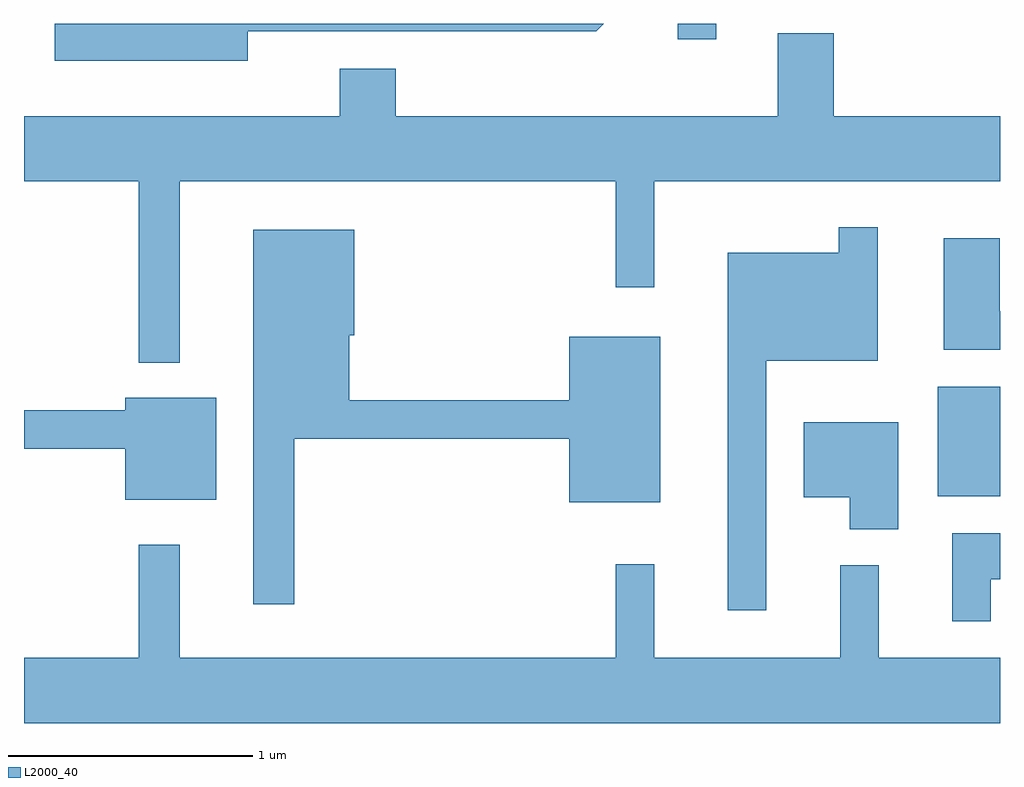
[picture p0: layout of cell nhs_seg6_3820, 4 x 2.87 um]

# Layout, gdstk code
import gdstk
lib = gdstk.Library(unit=1e-6, precision=1e-09)
def R(c, l, rs):  # rectangles x0, y0, x1, y1
    for r in rs: c.add(gdstk.rectangle(r[:2], r[2:], *l))
def P(c, l, *ps):  # polygons
    for p in ps: c.add(gdstk.Polygon(p, *l))
L2000_40 = (2000, 40)

nhs_seg6_3820 = lib.new_cell('nhs_seg6_3820')
R(nhs_seg6_3820, L2000_40, [(303.356,1624.226,303.611,1624.674), (302.291,1626.098,302.449,1626.162)])
P(nhs_seg6_3820, L2000_40, [(300.529,1626.131),(301.957,1626.131),(301.988,1626.162),(299.738,1626.162),(299.738,1626.011),(300.529,1626.011)],
  [(300.249,1625.516),(302.036,1625.516),(302.036,1625.083),(302.194,1625.083),(302.194,1625.516),(303.611,1625.516),(303.611,1625.784),(302.929,1625.784),(302.929,1626.124),(302.701,1626.124),(302.701,1625.784),(301.134,1625.784),(301.134,1625.979),(300.906,1625.979),(300.906,1625.784),(299.611,1625.784),(299.611,1625.516),(300.081,1625.516),(300.081,1624.773),(300.249,1624.773)],
  [(302.654,1624.781),(303.109,1624.781),(303.109,1625.328),(302.951,1625.328),(302.951,1625.224),(302.496,1625.224),(302.496,1623.758),(302.654,1623.758)],
  [(300.719,1624.461),(301.846,1624.461),(301.846,1624.201),(302.219,1624.201),(302.219,1624.879),(301.846,1624.879),(301.846,1624.619),(300.944,1624.619),(300.944,1624.886),(300.964,1624.886),(300.964,1625.319),(300.551,1625.319),(300.551,1623.783),(300.719,1623.783)],
  [(303.611,1624.984),(303.609,1624.984),(303.609,1625.284),(303.381,1625.284),(303.381,1624.826),(303.611,1624.826)],
  [(300.399,1624.629),(300.026,1624.629),(300.026,1624.579),(299.611,1624.579),(299.611,1624.421),(300.026,1624.421),(300.026,1624.211),(300.399,1624.211)],
  [(303.194,1624.529),(302.806,1624.529),(302.806,1624.221),(302.996,1624.221),(302.996,1624.091),(303.194,1624.091)],
  [(303.574,1623.886),(303.611,1623.886),(303.611,1624.074),(303.416,1624.074),(303.416,1623.713),(303.574,1623.713)],
  [(303.611,1623.564),(303.114,1623.564),(303.114,1623.943),(302.956,1623.943),(302.956,1623.564),(302.194,1623.564),(302.194,1623.948),(302.036,1623.948),(302.036,1623.564),(300.249,1623.564),(300.249,1624.028),(300.081,1624.028),(300.081,1623.564),(299.611,1623.564),(299.611,1623.296),(303.611,1623.296)])

lib.write_gds('nhs_seg6_3820.gds')
